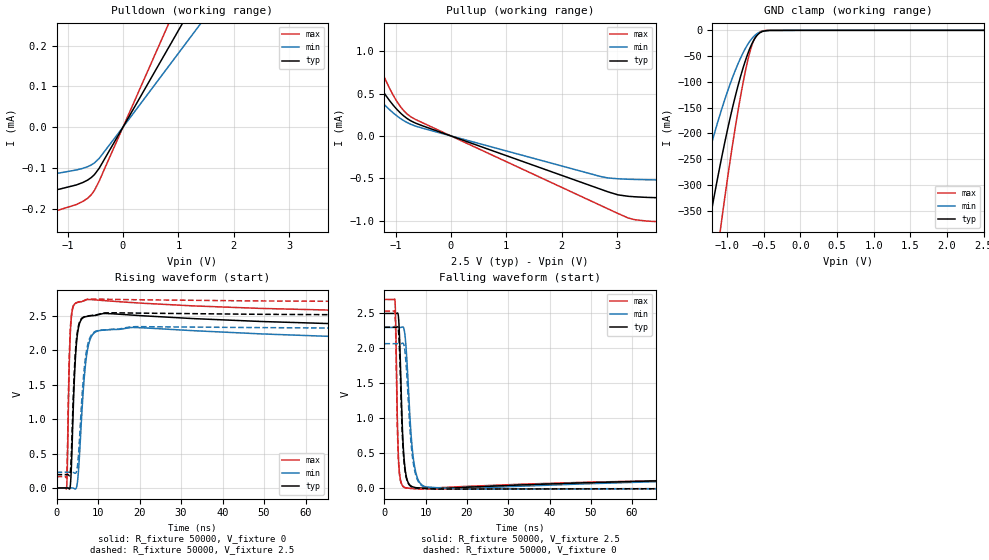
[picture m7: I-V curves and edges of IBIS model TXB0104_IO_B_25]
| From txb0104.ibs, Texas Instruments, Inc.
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[Model]   TXB0104_IO_B_25
Model_type  I/O
Vinl=0.805
Vinh=1.755
Enable   Active-High
Vref =   0
Rref =   1e6
Cref =   15p
Vmeas =   1.25
| variable   typ   min   max
C_comp   14.26pF   12.14pF   15.65pF
| C_pullup   14.16pF   12.10pF   15.69pF
| C_pulldown   19.48pF   12.10pF   39.43pF
| C_tri-state   14.26pF   12.14pF   15.65pF
[Temperature Range]   40   100   -40
| Ambient temperature   25   85   -40
[Voltage range]   2.5   2.3   2.7
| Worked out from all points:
|   slope of the pulldown table from 0 to 0.375 V, typ, clamps not added: 4.22 kohm
|   slope of the pullup table from 0 to 0.375 V, typ, clamps not added: 4.29 kohm
|   GND clamp passes 1 mA (typ) near -0.48 V on its own axis
|   rising waveform, R_fixture 50000, V_fixture 0: 20-80 % time 844ps typ, 1.29ns min, 513ps max; typ from 0 V to 2.31 V
|   falling waveform, R_fixture 50000, V_fixture 2.5: 20-80 % time 779ps typ, 1.26ns min, 473ps max; typ from 2.5 V to 0.187 V
|   rising waveform, R_fixture 50000, V_fixture 2.5: 20-80 % time 958ps typ, 1.5ns min, 569ps max; typ from 0.194 V to 2.5 V
|   falling waveform, R_fixture 50000, V_fixture 0: 20-80 % time 898ps typ, 1.48ns min, 525ps max; typ from 2.3 V to 0 V
[GND Clamp]
| TXB0104_IO_B_25
|   Voltage   I(typ)   I(min)   I(max)
-5.5V     -5.138A    -3.901A    -6.439A
-1.49V    -586.4mA   -378.1mA   -853mA
-1.245V   -376.5mA   -237.5mA   -558.2mA
-1.095V   -262.3mA   -163.1mA   -391.6mA
-1.075V   -248mA     -153.9mA   -370.5mA
-905mV    -138.1mA   -84.05mA   -204mA
-760mV    -63.29mA   -37.77mA   -86.28mA
-665mV    -27.4mA    -16.63mA   -30.93mA
-620mV    -15.49mA   -9.821mA   -14.83mA
-565mV    -6.226mA   -4.386mA   -4.479mA
-415mV    -183.3uA   -203.2uA   -41.92uA
2.5V      663.5pA    3.733nA    78.04pA
[Pulldown]
| TXB0104_IO_B_25
|   Voltage   I(typ)   I(min)   I(max)
-5.5V     -208uA     -155uA     -276uA
-3.11V    -185uA     -137uA     -245uA
-2.135V   -171uA     -126.8uA   -229uA
-1.645V   -163.1uA   -120.6uA   -218uA
-1.15V    -152.3uA   -112.6uA   -203.1uA
-840mV    -141.8uA   -105.1uA   -189.8uA
-640mV    -130uA     -97.12uA   -174.7uA
-515mV    -116.4uA   -87.72uA   -155uA
-430mV    -101uA     -76.73uA   -132.3uA
0V        0A         0A         0A
5.87V     1.392mA    1.063mA    1.808mA
11V       2.605mA    1.988mA    3.386mA
[Pullup]
| TXB0104_IO_B_25
|   Voltage   I(typ)   I(min)   I(max)
-5.5V     1.939mA    986uA      3.36mA
-2.71V    2.228mA    984uA      4.076mA
-2.35V    2.722mA    1.063mA    3.871mA
-2.145V   2.045mA    1.305mA    2.878mA
-2.08V    1.86mA     1.305mA    2.64mA
-1.79V    1.252mA    897.2uA    1.841mA
-1.545V   893.9uA    642.3uA    1.301mA
-1.11V    419.4uA    311.2uA    565.2uA
-725mV    178.5uA    137.6uA    226uA
2.7V      -628.8uA   -479.1uA   -820.3uA
3.325V    -719.3uA   -514.3uA   -990.4uA
11V       -761uA     -526uA     -1.08mA
[Ramp]
| TXB0104_IO_B_25
| variable   typ   min   max
dV/dt_r   1.53/1.02E-09   1.41/1.60E-09   1.65/6.05E-10
dV/dt_f   1.51/9.18E-10   1.39/1.51E-09   1.63/5.42E-10
R_load = 50000
[Rising Waveform]
| TXB0104_IO_B_25
R_fixture =   50000
C_fixture =   0
L_fixture =   0
V_fixture =   0
V_fixture_min = 0
V_fixture_max = 0
|   Time   V(typ)   V(min)   V(max)
0s        113.9nV    1.181uV    33.16nV
2.435ns   44.01uV    4.165uV    7.426mV
3.295ns   21.55mV    120.9uV    2.208V
3.83ns    763.8mV    142.9uV    2.59V
4.35ns    1.649V     -11.04mV   2.672V
4.875ns   2.145V     24.12mV    2.691V
7.285ns   2.492V     1.941V     2.735V
9.39ns    2.507V     2.267V     2.732V
18.4ns    2.511V     2.332V     2.693V
220ns     2.307V     2.082V     2.535V
[Falling Waveform]
| TXB0104_IO_B_25
R_fixture =   50000
C_fixture =   0
L_fixture =   0
V_fixture =   2.5
V_fixture_min = 2.3
V_fixture_max = 2.7
|   Time   V(typ)   V(min)   V(max)
0s        2.5V       2.3V       2.7V
2.55ns    2.5V       2.3V       2.686V
3.345ns   2.475V     2.3V       516.1mV
3.67ns    2.14V      2.299V     207.6mV
4.47ns    696mV      2.306V     31.68mV
5.245ns   184.3mV    2.007V     6.839mV
6.395ns   35.13mV    817.7mV    -615.1uV
7.155ns   16.08mV    365.6mV    -2.64mV
10.41ns   -285.2uV   17.35mV    545.1uV
220ns     186.5mV    208.6mV    162mV
[Rising Waveform]
| TXB0104_IO_B_25
R_fixture =   50000
C_fixture =   0
L_fixture =   0
V_fixture =   2.5
V_fixture_min = 2.3
V_fixture_max = 2.7
|   Time   V(typ)   V(min)   V(max)
0s        194.2mV    228.2mV    164.5mV
2.435ns   194.3mV    228.2mV    171.4mV
3.28ns    209.1mV    228.3mV    2.251V
4.285ns   1.692V     218.8mV    2.672V
4.85ns    2.188V     245.7mV    2.693V
6.465ns   2.481V     1.592V     2.719V
7.325ns   2.495V     2.027V     2.74V
9.415ns   2.512V     2.276V     2.744V
19.13ns   2.541V     2.344V     2.735V
220ns     2.501V     2.302V     2.7V
[Falling Waveform]
| TXB0104_IO_B_25
R_fixture =   50000
C_fixture =   0
L_fixture =   0
V_fixture =   0
V_fixture_min = 0
V_fixture_max = 0
|   Time   V(typ)   V(min)   V(max)
0s        2.303V     2.068V     2.533V
2.545ns   2.303V     2.068V     2.523V
3.34ns    2.281V     2.068V     466.8mV
3.65ns    1.979V     2.067V     196.5mV
4.43ns    650.9mV    2.074V     30.66mV
5.195ns   176.4mV    1.819V     5.948mV
6.29ns    34.04mV    761.7mV    -1.516mV
7.04ns    12.64mV    344.3mV    -3.564mV
10.2ns    -2.197mV   14.56mV    -10.27mV
220ns     -469.1uV   -1.085mV   -170.1uV
